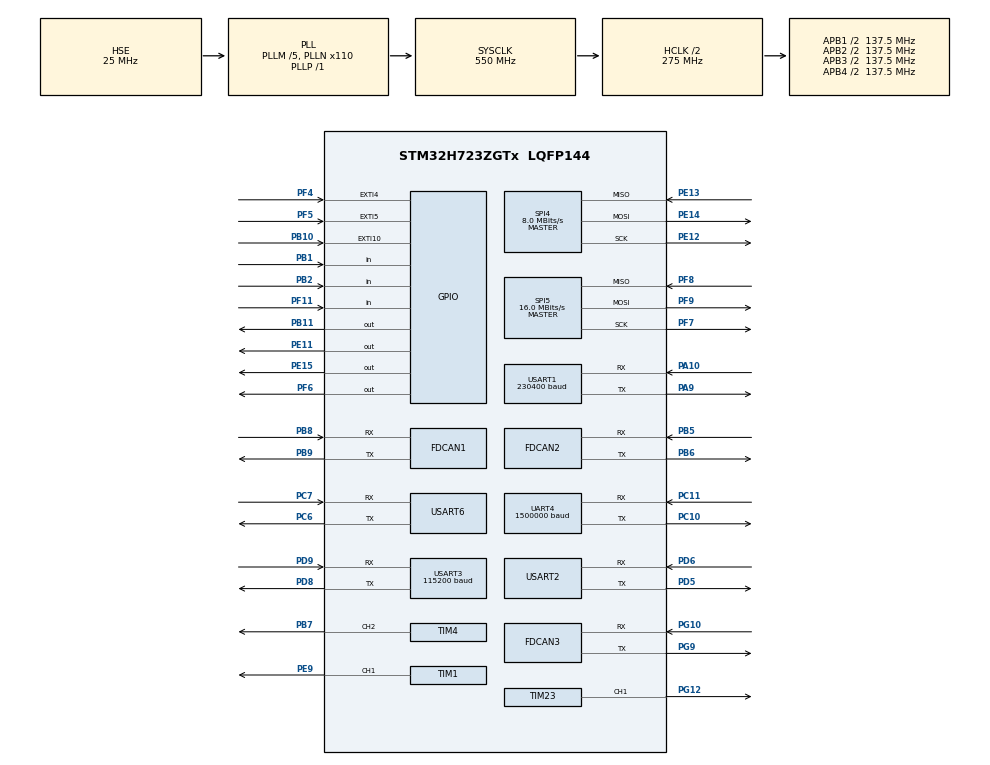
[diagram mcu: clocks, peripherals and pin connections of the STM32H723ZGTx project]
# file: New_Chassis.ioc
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CORTEX_M7.default_mode_Activation=1
Dma.Request0=USART2_RX
Dma.Request1=USART2_TX
Dma.Request2=UART4_RX
Dma.Request3=UART4_TX
Dma.Request4=TIM4_CH2
Dma.Request5=TIM1_CH1
Dma.Request6=USART1_RX
Dma.Request7=USART1_TX
Dma.Request8=USART3_RX
Dma.Request9=TIM23_CH1
Dma.TIM1_CH1.5.Direction=DMA_MEMORY_TO_PERIPH
Dma.TIM1_CH1.5.EventEnable=DISABLE
Dma.TIM1_CH1.5.FIFOMode=DMA_FIFOMODE_DISABLE
Dma.TIM1_CH1.5.Instance=DMA1_Stream5
Dma.TIM1_CH1.5.MemDataAlignment=DMA_MDATAALIGN_WORD
Dma.TIM1_CH1.5.MemInc=DMA_MINC_ENABLE
Dma.TIM1_CH1.5.Mode=DMA_NORMAL
Dma.TIM1_CH1.5.PeriphDataAlignment=DMA_PDATAALIGN_WORD
Dma.TIM1_CH1.5.PeriphInc=DMA_PINC_DISABLE
Dma.TIM1_CH1.5.Polarity=HAL_DMAMUX_REQ_GEN_RISING
Dma.TIM1_CH1.5.Priority=DMA_PRIORITY_LOW
Dma.TIM1_CH1.5.RequestNumber=1
Dma.TIM1_CH1.5.SignalID=NONE
Dma.TIM1_CH1.5.SyncEnable=DISABLE
Dma.TIM1_CH1.5.SyncPolarity=HAL_DMAMUX_SYNC_NO_EVENT
Dma.TIM1_CH1.5.SyncRequestNumber=1
Dma.TIM1_CH1.5.SyncSignalID=NONE
Dma.TIM23_CH1.9.Direction=DMA_MEMORY_TO_PERIPH
Dma.TIM23_CH1.9.EventEnable=DISABLE
Dma.TIM23_CH1.9.FIFOMode=DMA_FIFOMODE_DISABLE
Dma.TIM23_CH1.9.Instance=DMA2_Stream1
Dma.TIM23_CH1.9.MemDataAlignment=DMA_MDATAALIGN_WORD
Dma.TIM23_CH1.9.MemInc=DMA_MINC_ENABLE
Dma.TIM23_CH1.9.Mode=DMA_NORMAL
Dma.TIM23_CH1.9.PeriphDataAlignment=DMA_PDATAALIGN_WORD
Dma.TIM23_CH1.9.PeriphInc=DMA_PINC_DISABLE
Dma.TIM23_CH1.9.Polarity=HAL_DMAMUX_REQ_GEN_RISING
Dma.TIM23_CH1.9.Priority=DMA_PRIORITY_VERY_HIGH
Dma.TIM23_CH1.9.RequestNumber=1
Dma.TIM23_CH1.9.SignalID=NONE
Dma.TIM23_CH1.9.SyncEnable=DISABLE
Dma.TIM23_CH1.9.SyncPolarity=HAL_DMAMUX_SYNC_NO_EVENT
Dma.TIM23_CH1.9.SyncRequestNumber=1
Dma.TIM23_CH1.9.SyncSignalID=NONE
Dma.TIM4_CH2.4.Direction=DMA_MEMORY_TO_PERIPH
Dma.TIM4_CH2.4.EventEnable=DISABLE
Dma.TIM4_CH2.4.FIFOMode=DMA_FIFOMODE_DISABLE
Dma.TIM4_CH2.4.Instance=DMA1_Stream1
Dma.TIM4_CH2.4.MemDataAlignment=DMA_MDATAALIGN_WORD
Dma.TIM4_CH2.4.MemInc=DMA_MINC_ENABLE
Dma.TIM4_CH2.4.Mode=DMA_NORMAL
Dma.TIM4_CH2.4.PeriphDataAlignment=DMA_PDATAALIGN_WORD
Dma.TIM4_CH2.4.PeriphInc=DMA_PINC_DISABLE
Dma.TIM4_CH2.4.Polarity=HAL_DMAMUX_REQ_GEN_RISING
Dma.TIM4_CH2.4.Priority=DMA_PRIORITY_LOW
Dma.TIM4_CH2.4.RequestNumber=1
Dma.TIM4_CH2.4.SignalID=NONE
Dma.TIM4_CH2.4.SyncEnable=DISABLE
Dma.TIM4_CH2.4.SyncPolarity=HAL_DMAMUX_SYNC_NO_EVENT
Dma.TIM4_CH2.4.SyncRequestNumber=1
Dma.TIM4_CH2.4.SyncSignalID=NONE
Dma.UART4_RX.2.Direction=DMA_PERIPH_TO_MEMORY
Dma.UART4_RX.2.EventEnable=DISABLE
Dma.UART4_RX.2.FIFOMode=DMA_FIFOMODE_DISABLE
Dma.UART4_RX.2.Instance=DMA1_Stream2
Dma.UART4_RX.2.MemDataAlignment=DMA_MDATAALIGN_BYTE
Dma.UART4_RX.2.MemInc=DMA_MINC_ENABLE
Dma.UART4_RX.2.Mode=DMA_NORMAL
Dma.UART4_RX.2.PeriphDataAlignment=DMA_PDATAALIGN_BYTE
Dma.UART4_RX.2.PeriphInc=DMA_PINC_DISABLE
Dma.UART4_RX.2.Polarity=HAL_DMAMUX_REQ_GEN_RISING
Dma.UART4_RX.2.Priority=DMA_PRIORITY_LOW
Dma.UART4_RX.2.RequestNumber=1
Dma.UART4_RX.2.SignalID=NONE
Dma.UART4_RX.2.SyncEnable=DISABLE
Dma.UART4_RX.2.SyncPolarity=HAL_DMAMUX_SYNC_NO_EVENT
Dma.UART4_RX.2.SyncRequestNumber=1
Dma.UART4_RX.2.SyncSignalID=NONE
Dma.UART4_TX.3.Direction=DMA_MEMORY_TO_PERIPH
Dma.UART4_TX.3.EventEnable=DISABLE
Dma.UART4_TX.3.FIFOMode=DMA_FIFOMODE_DISABLE
Dma.UART4_TX.3.Instance=DMA1_Stream4
Dma.UART4_TX.3.MemDataAlignment=DMA_MDATAALIGN_BYTE
Dma.UART4_TX.3.MemInc=DMA_MINC_ENABLE
Dma.UART4_TX.3.Mode=DMA_NORMAL
Dma.UART4_TX.3.PeriphDataAlignment=DMA_PDATAALIGN_BYTE
Dma.UART4_TX.3.PeriphInc=DMA_PINC_DISABLE
Dma.UART4_TX.3.Polarity=HAL_DMAMUX_REQ_GEN_RISING
Dma.UART4_TX.3.Priority=DMA_PRIORITY_LOW
Dma.UART4_TX.3.RequestNumber=1
Dma.UART4_TX.3.SignalID=NONE
Dma.UART4_TX.3.SyncEnable=DISABLE
Dma.UART4_TX.3.SyncPolarity=HAL_DMAMUX_SYNC_NO_EVENT
Dma.UART4_TX.3.SyncRequestNumber=1
Dma.UART4_TX.3.SyncSignalID=NONE
Dma.USART1_RX.6.Direction=DMA_PERIPH_TO_MEMORY
Dma.USART1_RX.6.EventEnable=DISABLE
Dma.USART1_RX.6.FIFOMode=DMA_FIFOMODE_DISABLE
Dma.USART1_RX.6.Instance=DMA1_Stream7
Dma.USART1_RX.6.MemDataAlignment=DMA_MDATAALIGN_BYTE
Dma.USART1_RX.6.MemInc=DMA_MINC_ENABLE
Dma.USART1_RX.6.Mode=DMA_NORMAL
Dma.USART1_RX.6.PeriphDataAlignment=DMA_PDATAALIGN_BYTE
Dma.USART1_RX.6.PeriphInc=DMA_PINC_DISABLE
Dma.USART1_RX.6.Polarity=HAL_DMAMUX_REQ_GEN_RISING
Dma.USART1_RX.6.Priority=DMA_PRIORITY_LOW
Dma.USART1_RX.6.RequestNumber=1
Dma.USART1_RX.6.SignalID=NONE
Dma.USART1_RX.6.SyncEnable=DISABLE
Dma.USART1_RX.6.SyncPolarity=HAL_DMAMUX_SYNC_NO_EVENT
Dma.USART1_RX.6.SyncRequestNumber=1
Dma.USART1_RX.6.SyncSignalID=NONE
Dma.USART1_TX.7.Direction=DMA_MEMORY_TO_PERIPH
Dma.USART1_TX.7.EventEnable=DISABLE
Dma.USART1_TX.7.FIFOMode=DMA_FIFOMODE_DISABLE
Dma.USART1_TX.7.Instance=DMA2_Stream0
Dma.USART1_TX.7.MemDataAlignment=DMA_MDATAALIGN_BYTE
Dma.USART1_TX.7.MemInc=DMA_MINC_ENABLE
Dma.USART1_TX.7.Mode=DMA_NORMAL
Dma.USART1_TX.7.PeriphDataAlignment=DMA_PDATAALIGN_BYTE
Dma.USART1_TX.7.PeriphInc=DMA_PINC_DISABLE
Dma.USART1_TX.7.Polarity=HAL_DMAMUX_REQ_GEN_RISING
Dma.USART1_TX.7.Priority=DMA_PRIORITY_LOW
Dma.USART1_TX.7.RequestNumber=1
Dma.USART1_TX.7.SignalID=NONE
Dma.USART1_TX.7.SyncEnable=DISABLE
Dma.USART1_TX.7.SyncPolarity=HAL_DMAMUX_SYNC_NO_EVENT
Dma.USART1_TX.7.SyncRequestNumber=1
Dma.USART1_TX.7.SyncSignalID=NONE
Dma.USART2_RX.0.Direction=DMA_PERIPH_TO_MEMORY
Dma.USART2_RX.0.EventEnable=DISABLE
Dma.USART2_RX.0.FIFOMode=DMA_FIFOMODE_DISABLE
Dma.USART2_RX.0.Instance=DMA1_Stream0
Dma.USART2_RX.0.MemDataAlignment=DMA_MDATAALIGN_BYTE
Dma.USART2_RX.0.MemInc=DMA_MINC_ENABLE
Dma.USART2_RX.0.Mode=DMA_NORMAL
Dma.USART2_RX.0.PeriphDataAlignment=DMA_PDATAALIGN_BYTE
Dma.USART2_RX.0.PeriphInc=DMA_PINC_DISABLE
Dma.USART2_RX.0.Polarity=HAL_DMAMUX_REQ_GEN_RISING
Dma.USART2_RX.0.Priority=DMA_PRIORITY_LOW
Dma.USART2_RX.0.RequestNumber=1
Dma.USART2_RX.0.SignalID=NONE
Dma.USART2_RX.0.SyncEnable=DISABLE
Dma.USART2_RX.0.SyncPolarity=HAL_DMAMUX_SYNC_NO_EVENT
Dma.USART2_RX.0.SyncRequestNumber=1
Dma.USART2_RX.0.SyncSignalID=NONE
Dma.USART2_TX.1.Direction=DMA_MEMORY_TO_PERIPH
Dma.USART2_TX.1.EventEnable=DISABLE
Dma.USART2_TX.1.FIFOMode=DMA_FIFOMODE_DISABLE
Dma.USART2_TX.1.Instance=DMA1_Stream3
Dma.USART2_TX.1.MemDataAlignment=DMA_MDATAALIGN_BYTE
Dma.USART2_TX.1.MemInc=DMA_MINC_ENABLE
Dma.USART2_TX.1.Mode=DMA_NORMAL
Dma.USART2_TX.1.PeriphDataAlignment=DMA_PDATAALIGN_BYTE
Dma.USART2_TX.1.PeriphInc=DMA_PINC_DISABLE
Dma.USART2_TX.1.Polarity=HAL_DMAMUX_REQ_GEN_RISING
Dma.USART2_TX.1.Priority=DMA_PRIORITY_LOW
Dma.USART2_TX.1.RequestNumber=1
Dma.USART2_TX.1.SignalID=NONE
Dma.USART2_TX.1.SyncEnable=DISABLE
Dma.USART2_TX.1.SyncPolarity=HAL_DMAMUX_SYNC_NO_EVENT
Dma.USART2_TX.1.SyncRequestNumber=1
Dma.USART2_TX.1.SyncSignalID=NONE
Dma.USART3_RX.8.Direction=DMA_PERIPH_TO_MEMORY
Dma.USART3_RX.8.EventEnable=DISABLE
Dma.USART3_RX.8.FIFOMode=DMA_FIFOMODE_DISABLE
Dma.USART3_RX.8.Instance=DMA1_Stream6
Dma.USART3_RX.8.MemDataAlignment=DMA_MDATAALIGN_BYTE
Dma.USART3_RX.8.MemInc=DMA_MINC_ENABLE
Dma.USART3_RX.8.Mode=DMA_NORMAL
Dma.USART3_RX.8.PeriphDataAlignment=DMA_PDATAALIGN_BYTE
Dma.USART3_RX.8.PeriphInc=DMA_PINC_DISABLE
Dma.USART3_RX.8.Polarity=HAL_DMAMUX_REQ_GEN_RISING
Dma.USART3_RX.8.Priority=DMA_PRIORITY_LOW
Dma.USART3_RX.8.RequestNumber=1
Dma.USART3_RX.8.SignalID=NONE
Dma.USART3_RX.8.SyncEnable=DISABLE
Dma.USART3_RX.8.SyncPolarity=HAL_DMAMUX_SYNC_NO_EVENT
Dma.USART3_RX.8.SyncRequestNumber=1
Dma.USART3_RX.8.SyncSignalID=NONE
FDCAN1.CalculateBaudRateNominal=1000000
FDCAN1.CalculateTimeBitNominal=1000
FDCAN1.CalculateTimeQuantumNominal=100.0
FDCAN1.DataPrescaler=12
FDCAN1.DataTimeSeg1=2
FDCAN1.DataTimeSeg2=2
FDCAN1.ExtFiltersNbr=1
FDCAN1.FrameFormat=FDCAN_FRAME_FD_BRS
FDCAN1.NominalPrescaler=12
FDCAN1.NominalTimeSeg1=7
FDCAN1.NominalTimeSeg2=2
FDCAN1.RxBufferSize=FDCAN_DATA_BYTES_64
FDCAN1.RxBuffersNbr=8
FDCAN1.RxFifo0ElmtSize=FDCAN_DATA_BYTES_64
FDCAN1.RxFifo0ElmtsNbr=8
FDCAN1.RxFifo1ElmtSize=FDCAN_DATA_BYTES_64
FDCAN1.RxFifo1ElmtsNbr=8
FDCAN1.StdFiltersNbr=1
FDCAN1.TxBuffersNbr=0
FDCAN1.TxElmtSize=FDCAN_DATA_BYTES_64
FDCAN1.TxFifoQueueElmtsNbr=8
FDCAN2.CalculateBaudRateNominal=500000
FDCAN2.CalculateTimeBitNominal=2000
FDCAN2.CalculateTimeQuantumNominal=100.0
FDCAN2.ExtFiltersNbr=1
FDCAN2.MessageRAMOffset=666
FDCAN2.NominalPrescaler=12
FDCAN2.NominalTimeSeg1=15
FDCAN2.NominalTimeSeg2=4
FDCAN2.RxBufferSize=FDCAN_DATA_BYTES_64
FDCAN2.RxBuffersNbr=8
FDCAN2.RxFifo0ElmtSize=FDCAN_DATA_BYTES_64
FDCAN2.RxFifo0ElmtsNbr=8
FDCAN2.RxFifo1ElmtSize=FDCAN_DATA_BYTES_64
FDCAN2.RxFifo1ElmtsNbr=8
FDCAN2.StdFiltersNbr=1
FDCAN2.TxBuffersNbr=0
FDCAN2.TxElmtSize=FDCAN_DATA_BYTES_64
FDCAN2.TxFifoQueueElmtsNbr=8
FDCAN3.AutoRetransmission=DISABLE
FDCAN3.CalculateBaudRateNominal=1000000
FDCAN3.CalculateTimeBitNominal=1000
FDCAN3.CalculateTimeQuantumNominal=50.0
FDCAN3.DataPrescaler=6
FDCAN3.DataSyncJumpWidth=1
FDCAN3.DataTimeSeg1=7
FDCAN3.DataTimeSeg2=2
FDCAN3.ExtFiltersNbr=1
FDCAN3.FrameFormat=FDCAN_FRAME_FD_BRS
FDCAN3.MessageRAMOffset=666*2
FDCAN3.NominalPrescaler=6
FDCAN3.NominalTimeSeg1=15
FDCAN3.NominalTimeSeg2=4
FDCAN3.RxBufferSize=FDCAN_DATA_BYTES_64
FDCAN3.RxBuffersNbr=8
FDCAN3.RxFifo0ElmtSize=FDCAN_DATA_BYTES_64
FDCAN3.RxFifo0ElmtsNbr=8
FDCAN3.RxFifo1ElmtSize=FDCAN_DATA_BYTES_64
FDCAN3.RxFifo1ElmtsNbr=8
FDCAN3.StdFiltersNbr=1
FDCAN3.TxBuffersNbr=0
FDCAN3.TxElmtSize=FDCAN_DATA_BYTES_64
FDCAN3.TxFifoQueueElmtsNbr=32
FREERTOS.INCLUDE_vTaskDelayUntil=1
FREERTOS.Tasks01=Motor_Control,0,1024,motor_control,As weak,NULL,Dynamic,NULL,NULL;Communication,0,1024,communication,As weak,NULL,Dynamic,NULL,NULL;Location,0,512,location,As weak,NULL,Dynamic,NULL,NULL;myTransmit_task,3,512,StartTransmit_task,As weak,NULL,Dynamic,NULL,NULL;Detect_Wrong,0,512,Detect,As weak,NULL,Dynamic,NULL,NULL;Defense1,0,512,HTMotorControl,As weak,NULL,Dynamic,NULL,NULL;Defense2,-3,512,ParamsChange,As weak,NULL,Dynamic,NULL,NULL
FREERTOS.configTOTAL_HEAP_SIZE=88888
FREERTOS.configUSE_IDLE_HOOK=1
FREERTOS.configUSE_TICK_HOOK=1
Mcu.Family=STM32H7
Mcu.Name=STM32H723ZGTx
Mcu.Package=LQFP144
NVIC.DMA1_Stream0_IRQn=true\:5\:0\:false\:false\:true\:true\:false\:true\:true
NVIC.DMA1_Stream1_IRQn=true\:5\:0\:false\:false\:true\:true\:false\:true\:true
NVIC.DMA1_Stream2_IRQn=true\:5\:0\:false\:false\:true\:true\:false\:true\:true
NVIC.DMA1_Stream3_IRQn=true\:5\:0\:false\:false\:true\:true\:false\:true\:true
NVIC.DMA1_Stream4_IRQn=true\:5\:0\:false\:false\:true\:true\:false\:true\:true
NVIC.DMA1_Stream5_IRQn=true\:5\:0\:false\:false\:true\:true\:false\:true\:true
NVIC.DMA1_Stream6_IRQn=true\:5\:0\:false\:false\:true\:true\:false\:true\:true
NVIC.DMA1_Stream7_IRQn=true\:5\:0\:false\:false\:true\:true\:false\:true\:true
NVIC.DMA2_Stream0_IRQn=true\:5\:0\:false\:false\:true\:true\:false\:true\:true
NVIC.DMA2_Stream1_IRQn=true\:5\:0\:false\:false\:true\:true\:false\:true\:true
NVIC.EXTI15_10_IRQn=true\:5\:0\:false\:false\:true\:true\:true\:true\:true
NVIC.EXTI4_IRQn=true\:5\:0\:false\:false\:true\:true\:true\:true\:true
NVIC.EXTI9_5_IRQn=true\:5\:0\:false\:false\:true\:true\:true\:true\:true
NVIC.FDCAN1_IT0_IRQn=true\:5\:0\:false\:false\:true\:true\:true\:true\:true
NVIC.FDCAN1_IT1_IRQn=true\:5\:0\:false\:false\:true\:true\:true\:true\:true
NVIC.FDCAN2_IT0_IRQn=true\:5\:0\:false\:false\:true\:true\:true\:true\:true
NVIC.FDCAN2_IT1_IRQn=true\:5\:0\:false\:false\:true\:true\:true\:true\:true
NVIC.FDCAN3_IT0_IRQn=true\:5\:0\:false\:false\:true\:true\:true\:true\:true
NVIC.FDCAN3_IT1_IRQn=true\:5\:0\:false\:false\:true\:true\:true\:true\:true
NVIC.PriorityGroup=NVIC_PRIORITYGROUP_4
NVIC.SPI4_IRQn=true\:5\:0\:false\:false\:true\:true\:true\:true\:true
NVIC.TIM16_IRQn=true\:5\:0\:false\:false\:true\:true\:true\:true\:true
NVIC.TIM23_IRQn=true\:5\:0\:false\:false\:true\:true\:true\:true\:true
NVIC.TIM2_IRQn=true\:15\:0\:false\:false\:true\:false\:false\:true\:true
NVIC.TIM3_IRQn=true\:5\:0\:false\:false\:true\:true\:true\:true\:true
NVIC.TIM4_IRQn=true\:5\:0\:false\:false\:true\:true\:true\:true\:true
NVIC.TimeBase=TIM2_IRQn
NVIC.TimeBaseIP=TIM2
NVIC.UART4_IRQn=true\:5\:0\:false\:false\:true\:true\:true\:true\:true
NVIC.USART1_IRQn=true\:5\:0\:false\:false\:true\:true\:true\:true\:true
NVIC.USART2_IRQn=true\:5\:0\:false\:false\:true\:true\:true\:true\:true
NVIC.USART3_IRQn=true\:5\:0\:false\:false\:true\:true\:true\:true\:true
PA10.GPIO_PuPd=GPIO_PULLDOWN
PA10.GPIO_Speed=GPIO_SPEED_FREQ_VERY_HIGH
PA10.Mode=Asynchronous
PA10.Signal=USART1_RX
PA9.GPIO_PuPd=GPIO_PULLDOWN
PA9.GPIO_Speed=GPIO_SPEED_FREQ_VERY_HIGH
PA9.Mode=Asynchronous
PA9.Signal=USART1_TX
PB1.Signal=GPIO_Input
PB10.GPIO_ModeDefaultEXTI=GPIO_MODE_IT_FALLING
PB10.Signal=GPXTI10
PB11.GPIO_ModeDefaultOutputPP=GPIO_MODE_OUTPUT_PP
PB11.GPIO_PuPd=GPIO_PULLDOWN
PB11.PinState=GPIO_PIN_SET
PB11.Signal=GPIO_Output
PB2.Signal=GPIO_Input
PB5.Mode=FDCAN_Activate
PB5.Signal=FDCAN2_RX
PB6.Mode=FDCAN_Activate
PB6.Signal=FDCAN2_TX
PB7.Signal=S_TIM4_CH2
PB8.Mode=FDCAN_Activate
PB8.Signal=FDCAN1_RX
PB9.Mode=FDCAN_Activate
PB9.Signal=FDCAN1_TX
PC10.Mode=Asynchronous
PC10.Signal=UART4_TX
PC11.GPIO_PuPd=GPIO_PULLUP
PC11.Mode=Asynchronous
PC11.Signal=UART4_RX
PC6.Mode=Asynchronous
PC6.Signal=USART6_TX
PC7.Mode=Asynchronous
PC7.Signal=USART6_RX
PD5.GPIO_PuPd=GPIO_PULLUP
PD5.Mode=Asynchronous
PD5.Signal=USART2_TX
PD6.GPIO_PuPd=GPIO_PULLUP
PD6.Mode=Asynchronous
PD6.Signal=USART2_RX
PD8.GPIO_PuPd=GPIO_PULLUP
PD8.Mode=Asynchronous
PD8.Signal=USART3_TX
PD9.GPIO_PuPd=GPIO_PULLUP
PD9.Mode=Asynchronous
PD9.Signal=USART3_RX
PE11.Signal=GPIO_Output
PE12.Mode=Full_Duplex_Master
PE12.Signal=SPI4_SCK
PE13.Mode=Full_Duplex_Master
PE13.Signal=SPI4_MISO
PE14.Mode=Full_Duplex_Master
PE14.Signal=SPI4_MOSI
PE15.Signal=GPIO_Output
PE9.Signal=S_TIM1_CH1
PF11.Signal=GPIO_Input
PF4.GPIO_ModeDefaultEXTI=GPIO_MODE_IT_FALLING
PF4.GPIO_PuPd=GPIO_PULLUP
PF4.Signal=GPXTI4
PF5.GPIO_ModeDefaultEXTI=GPIO_MODE_IT_FALLING
PF5.GPIO_PuPd=GPIO_PULLUP
PF5.Signal=GPXTI5
PF6.GPIO_PuPd=GPIO_PULLUP
PF6.GPIO_Speed=GPIO_SPEED_FREQ_HIGH
PF6.PinState=GPIO_PIN_RESET
PF6.Signal=GPIO_Output
PF7.Mode=Full_Duplex_Master
PF7.Signal=SPI5_SCK
PF8.Mode=Full_Duplex_Master
PF8.Signal=SPI5_MISO
PF9.Mode=Full_Duplex_Master
PF9.Signal=SPI5_MOSI
PG10.Mode=FDCAN_Activate
PG10.Signal=FDCAN3_RX
PG12.GPIO_PuPd=GPIO_PULLUP
PG12.GPIO_Speed=GPIO_SPEED_FREQ_VERY_HIGH
PG12.Mode=PWM Generation1 CH1
PG12.Signal=TIM23_CH1
PG9.Mode=FDCAN_Activate
PG9.Signal=FDCAN3_TX
PH0-OSC_IN.Mode=HSE-External-Oscillator
PH0-OSC_IN.Signal=RCC_OSC_IN
PH1-OSC_OUT.Mode=HSE-External-Oscillator
PH1-OSC_OUT.Signal=RCC_OSC_OUT
ProjectManager.HeapSize=0x200
ProjectManager.StackSize=0x400
ProjectManager.TargetToolchain=MDK-ARM V5.32
RCC.ADCCLockSelection=RCC_ADCCLKSOURCE_PLL2
RCC.ADCFreq_Value=120000000
RCC.APB1Freq_Value=137500000
RCC.APB2Freq_Value=137500000
RCC.APB3Freq_Value=137500000
RCC.APB4Freq_Value=137500000
RCC.CECCLockSelection=RCC_CECCLKSOURCE_LSI
RCC.CKPERSourceSelection=RCC_CLKPSOURCE_HSI
RCC.CSI_VALUE=4000000
RCC.CortexFreq_Value=550000000
RCC.Cortex_Div=SYSTICK_CLKSOURCE_HCLK
RCC.Cortex_DivARG=SystemCoreClock/1000
RCC.D1CPRE=RCC_SYSCLK_DIV1
RCC.D1PPRE=RCC_APB3_DIV2
RCC.D2PPRE1=RCC_APB1_DIV2
RCC.D2PPRE2=RCC_APB2_DIV2
RCC.D3PPRE=RCC_APB4_DIV2
RCC.DFSDMCLockSelection=RCC_DFSDM1CLKSOURCE_D2PCLK1
RCC.DIVM1=5
RCC.DIVM2=25
RCC.DIVM3=5
RCC.DIVN1=110
RCC.DIVN2=240
RCC.DIVN3=96
RCC.DIVP1=1
RCC.DIVP2=2
RCC.DIVP3=2
RCC.DIVQ1=2
RCC.DIVQ3=15
RCC.DIVR1=2
RCC.DIVR2=2
RCC.DIVR3=2
RCC.EXTERNAL_CLOCK_VALUE=12288000
RCC.EnbaleCSS=false
RCC.FDCANCLockSelection=RCC_FDCANCLKSOURCE_PLL2
RCC.FMCCLockSelection=RCC_FMCCLKSOURCE_D1HCLK
RCC.HCLKFreq_Value=275000000
RCC.HPRE=RCC_HCLK_DIV2
RCC.HSE_VALUE=25000000
RCC.HSI48_VALUE=48000000
RCC.HSIDiv=RCC_PLLSAIDIVR_1
RCC.HSI_VALUE=64000000
RCC.I2C123CLockSelection=RCC_I2C1235CLKSOURCE_D2PCLK1
RCC.I2C4CLockSelection=RCC_I2C4CLKSOURCE_D3PCLK1
RCC.LPTIM1CLockSelection=RCC_LPTIM1CLKSOURCE_D2PCLK1
RCC.LPTIM2CLockSelection=RCC_LPTIM2CLKSOURCE_D3PCLK1
RCC.LPTIM345CLockSelection=RCC_LPTIM345CLKSOURCE_D3PCLK1
RCC.LPUART1CLockSelection=RCC_LPUART1CLKSOURCE_D3PCLK1
RCC.LSEState=RCC_LSE_OFF
RCC.LSE_VALUE=32768
RCC.PLLSourceVirtual=RCC_PLLSOURCE_HSE
RCC.QSPICLockSelection=RCC_OSPICLKSOURCE_D1HCLK
RCC.RCC_MCO1Source=RCC_MCO1SOURCE_HSI
RCC.RCC_MCO2Source=RCC_MCO2SOURCE_SYSCLK
RCC.RCC_MCODiv1=RCC_MCODIV_1
RCC.RCC_MCODiv2=RCC_MCODIV_1
RCC.RCC_RTC_Clock_Source_FROM_HSE=RCC_RTCCLKSOURCE_HSE_DIV2
RCC.RNGCLockSelection=RCC_RNGCLKSOURCE_HSI48
RCC.SAI1CLockSelection=RCC_SAI1CLKSOURCE_PLL
RCC.SAI4ACLockSelection=RCC_SAI4ACLKSOURCE_PLL
RCC.SAI4BCLockSelection=RCC_SAI4BCLKSOURCE_PLL
RCC.SPDIFCLockSelection=RCC_SPDIFRXCLKSOURCE_PLL
RCC.SPI123CLockSelection=RCC_SPI123CLKSOURCE_PLL
RCC.SPI6CLockSelection=RCC_SPI6CLKSOURCE_D3PCLK1
RCC.SWPCLockSelection=RCC_SWPMI1CLKSOURCE_D2PCLK1
RCC.SYSCLKFreq_VALUE=550000000
RCC.SYSCLKSource=RCC_SYSCLKSOURCE_PLLCLK
RCC.Spi45ClockSelection=RCC_SPI45CLKSOURCE_PLL3
RCC.USART16CLockSelection=RCC_USART16910CLKSOURCE_PLL2
RCC.USART234578CLockSelection=RCC_USART234578CLKSOURCE_PLL2
RCC.USBCLockSelection=RCC_USBCLKSOURCE_PLL
RCC.USBFreq_Value=275000000
SH.S_TIM1_CH1.0=TIM1_CH1,PWM Generation1 CH1
SH.S_TIM4_CH2.0=TIM4_CH2,PWM Generation2 CH2
SPI4.BaudRatePrescaler=SPI_BAUDRATEPRESCALER_4
SPI4.CalculateBaudRate=8.0 MBits/s
SPI4.DataSize=SPI_DATASIZE_8BIT
SPI4.Direction=SPI_DIRECTION_2LINES
SPI4.Mode=SPI_MODE_MASTER
SPI4.VirtualType=VM_MASTER
SPI5.BaudRatePrescaler=SPI_BAUDRATEPRESCALER_2
SPI5.CalculateBaudRate=16.0 MBits/s
SPI5.DataSize=SPI_DATASIZE_8BIT
SPI5.Direction=SPI_DIRECTION_2LINES
SPI5.Mode=SPI_MODE_MASTER
SPI5.VirtualType=VM_MASTER
TIM1.Channel-PWM\ Generation1\ CH1=TIM_CHANNEL_1
TIM16.Period=1000-1
TIM16.Prescaler=275-1
TIM23.Channel-PWM\ Generation1\ CH1=TIM_CHANNEL_1
TIM23.OCFastMode_PWM-PWM\ Generation1\ CH1=TIM_OCFAST_ENABLE
TIM23.Period=342
TIM3.AutoReloadPreload=TIM_AUTORELOAD_PRELOAD_ENABLE
TIM3.Period=100
TIM3.Prescaler=274
TIM4.AutoReloadPreload=TIM_AUTORELOAD_PRELOAD_DISABLE
TIM4.Channel-PWM\ Generation1\ CH1=TIM_CHANNEL_1
TIM4.Channel-PWM\ Generation2\ CH2=TIM_CHANNEL_2
TIM4.OCFastMode_PWM-PWM\ Generation2\ CH2=TIM_OCFAST_ENABLE
TIM4.Period=342
UART4.BaudRate=1500000
USART1.BaudRate=230400
USART1.VirtualMode-Asynchronous=VM_ASYNC
USART2.VirtualMode-Asynchronous=VM_ASYNC
USART3.BaudRate=115200
USART3.VirtualMode-Asynchronous=VM_ASYNC
USART6.VirtualMode-Asynchronous=VM_ASYNC
VP_FREERTOS_VS_CMSIS_V1.Mode=CMSIS_V1
VP_MEMORYMAP_VS_MEMORYMAP.Mode=CurAppReg
VP_SYS_VS_tim2.Mode=TIM2
VP_TIM16_VS_ClockSourceINT.Mode=Enable_Timer
VP_TIM1_VS_ClockSourceINT.Mode=Internal
VP_TIM3_VS_ClockSourceINT.Mode=Internal
VP_TIM4_VS_ClockSourceINT.Mode=Internal
board=custom

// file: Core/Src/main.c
/* USER CODE BEGIN Header */
/**
  ******************************************************************************
  * @file           : main.c
  * @brief          : Main program body
  ******************************************************************************
  * @attention
  *
  * Copyright (c) 2025 STMicroelectronics.
  * All rights reserved.
  *
  * This software is licensed under terms that can be found in the LICENSE file
  * in the root directory of this software component.
  * If no LICENSE file comes with this software, it is provided AS-IS.
  *
  ******************************************************************************
  */
/* USER CODE END Header */
#include "main.h"
#include "cmsis_os.h"
#include "dma.h"
#include "fdcan.h"
#include "memorymap.h"
#include "spi.h"
#include "tim.h"
#include "usart.h"
#include "gpio.h"

/* USER CODE BEGIN Includes */
#include "Global.h"
#if MPC
#include "Second_Order.hpp"
#endif
#include "SPI_FDCAN.h"
#include "Television.h"
#include "CPU_Load.h"
#include "Interact.h"
#include "Chassis.h"
#include "Can_Bsp.h"
#include "Encoder.h"
#include <string.h>
#include "Global.h"
#include "Basket.h"
#include "Kalman.h"
#include "Guard.h"
#include "Flow.h"
#include "mine.h"
#include "Send.h"
#include "Gyro.h"
#include "RGB.h"

/* USER CODE END Includes */

/* USER CODE BEGIN PV */
FDCAN_RxHeaderTypeDef RxHeader;
/* USER CODE END PV */

void SystemClock_Config(void);
void PeriphCommonClock_Config(void);
static void MPU_Config(void);
void MX_FREERTOS_Init(void);

int main(void)
{

  /* MPU Configuration--------------------------------------------------------*/
  MPU_Config();

  /* MCU Configuration--------------------------------------------------------*/

  /* Reset of all peripherals, Initializes the Flash interface and the Systick. */
  HAL_Init();

  /* Configure the system clock */
  SystemClock_Config();

  /* Configure the peripherals common clocks */
  PeriphCommonClock_Config();

  /* USER CODE BEGIN SysInit */
	HAL_Delay(200);

  /* USER CODE END SysInit */

  /* Initialize all configured peripherals */
  MX_GPIO_Init();
  MX_DMA_Init();
  MX_FDCAN1_Init();
  MX_FDCAN2_Init();
  MX_USART2_UART_Init();
  MX_FDCAN3_Init();
  MX_TIM4_Init();
  MX_UART4_Init();
  MX_TIM1_Init();
  MX_USART1_UART_Init();
  MX_USART3_UART_Init();
  MX_USART6_UART_Init();
  MX_TIM3_Init();
  MX_SPI4_Init();
  MX_SPI5_Init();
  MX_TIM23_Init();
  MX_TIM16_Init();
  /* USER CODE BEGIN 2 */
	Chassis_SelfLock(true);
	FDCAN4_Init();
	RGB_Init();
	GamePad_Init();
	Encoder_Init();
	TurnMotor_OffsetAngleInit();
	Wireless_init();
  #if MPC
	Kalman3D_Init();
  #endif
  Gyro_Reset();
	//CPU_Usage_Init();
  /* USER CODE END 2 */

  /* Call init function for freertos objects (in cmsis_os2.c) */
  MX_FREERTOS_Init();

  /* Start scheduler */
  osKernelStart();

  /* We should never get here as control is now taken by the scheduler */

  /* Infinite loop */
  while (1)
  {

  }
}

void SystemClock_Config(void)
{
  RCC_OscInitTypeDef RCC_OscInitStruct = {0};
  RCC_ClkInitTypeDef RCC_ClkInitStruct = {0};

  /** Supply configuration update enable
  */
  HAL_PWREx_ConfigSupply(PWR_LDO_SUPPLY);

  /** Configure the main internal regulator output voltage
  */
  __HAL_PWR_VOLTAGESCALING_CONFIG(PWR_REGULATOR_VOLTAGE_SCALE0);

  while(!__HAL_PWR_GET_FLAG(PWR_FLAG_VOSRDY)) {}

  /** Initializes the RCC Oscillators according to the specified parameters
  * in the RCC_OscInitTypeDef structure.
  */
  RCC_OscInitStruct.OscillatorType = RCC_OSCILLATORTYPE_HSE;
  RCC_OscInitStruct.HSEState = RCC_HSE_ON;
  RCC_OscInitStruct.PLL.PLLState = RCC_PLL_ON;
  RCC_OscInitStruct.PLL.PLLSource = RCC_PLLSOURCE_HSE;
  RCC_OscInitStruct.PLL.PLLM = 5;
  RCC_OscInitStruct.PLL.PLLN = 110;
  RCC_OscInitStruct.PLL.PLLP = 1;
  RCC_OscInitStruct.PLL.PLLQ = 2;
  RCC_OscInitStruct.PLL.PLLR = 2;
  RCC_OscInitStruct.PLL.PLLRGE = RCC_PLL1VCIRANGE_2;
  RCC_OscInitStruct.PLL.PLLVCOSEL = RCC_PLL1VCOWIDE;
  RCC_OscInitStruct.PLL.PLLFRACN = 0;
  if (HAL_RCC_OscConfig(&RCC_OscInitStruct) != HAL_OK)
  {
    Error_Handler();
  }

  /** Initializes the CPU, AHB and APB buses clocks
  */
  RCC_ClkInitStruct.ClockType = RCC_CLOCKTYPE_HCLK|RCC_CLOCKTYPE_SYSCLK
                              |RCC_CLOCKTYPE_PCLK1|RCC_CLOCKTYPE_PCLK2
                              |RCC_CLOCKTYPE_D3PCLK1|RCC_CLOCKTYPE_D1PCLK1;
  RCC_ClkInitStruct.SYSCLKSource = RCC_SYSCLKSOURCE_PLLCLK;
  RCC_ClkInitStruct.SYSCLKDivider = RCC_SYSCLK_DIV1;
  RCC_ClkInitStruct.AHBCLKDivider = RCC_HCLK_DIV2;
  RCC_ClkInitStruct.APB3CLKDivider = RCC_APB3_DIV2;
  RCC_ClkInitStruct.APB1CLKDivider = RCC_APB1_DIV2;
  RCC_ClkInitStruct.APB2CLKDivider = RCC_APB2_DIV2;
  RCC_ClkInitStruct.APB4CLKDivider = RCC_APB4_DIV2;

  if (HAL_RCC_ClockConfig(&RCC_ClkInitStruct, FLASH_LATENCY_3) != HAL_OK)
  {
    Error_Handler();
  }
}

void PeriphCommonClock_Config(void)
{
  RCC_PeriphCLKInitTypeDef PeriphClkInitStruct = {0};

  /** Initializes the peripherals clock
  */
  PeriphClkInitStruct.PeriphClockSelection = RCC_PERIPHCLK_SPI4|RCC_PERIPHCLK_SPI5
                              |RCC_PERIPHCLK_FDCAN|RCC_PERIPHCLK_USART1
                              |RCC_PERIPHCLK_USART6|RCC_PERIPHCLK_UART4
                              |RCC_PERIPHCLK_USART2|RCC_PERIPHCLK_USART3;
  PeriphClkInitStruct.PLL2.PLL2M = 25;
  PeriphClkInitStruct.PLL2.PLL2N = 240;
  PeriphClkInitStruct.PLL2.PLL2P = 2;
  PeriphClkInitStruct.PLL2.PLL2Q = 2;
  PeriphClkInitStruct.PLL2.PLL2R = 2;
  PeriphClkInitStruct.PLL2.PLL2RGE = RCC_PLL2VCIRANGE_0;
  PeriphClkInitStruct.PLL2.PLL2VCOSEL = RCC_PLL2VCOMEDIUM;
  PeriphClkInitStruct.PLL2.PLL2FRACN = 0;
  PeriphClkInitStruct.PLL3.PLL3M = 5;
  PeriphClkInitStruct.PLL3.PLL3N = 96;
  PeriphClkInitStruct.PLL3.PLL3P = 2;
  PeriphClkInitStruct.PLL3.PLL3Q = 15;
  PeriphClkInitStruct.PLL3.PLL3R = 2;
  PeriphClkInitStruct.PLL3.PLL3RGE = RCC_PLL3VCIRANGE_2;
  PeriphClkInitStruct.PLL3.PLL3VCOSEL = RCC_PLL3VCOWIDE;
  PeriphClkInitStruct.PLL3.PLL3FRACN = 0;
  PeriphClkInitStruct.Spi45ClockSelection = RCC_SPI45CLKSOURCE_PLL3;
  PeriphClkInitStruct.FdcanClockSelection = RCC_FDCANCLKSOURCE_PLL2;
  PeriphClkInitStruct.Usart234578ClockSelection = RCC_USART234578CLKSOURCE_PLL2;
  PeriphClkInitStruct.Usart16ClockSelection = RCC_USART16910CLKSOURCE_PLL2;
  if (HAL_RCCEx_PeriphCLKConfig(&PeriphClkInitStruct) != HAL_OK)
  {
    Error_Handler();
  }
}

/* USER CODE BEGIN 4 */
unsigned char Row_Data[64];
void HAL_FDCAN_RxFifo0Callback(FDCAN_HandleTypeDef *hfdcan, uint32_t RxFifo0ITs)
{
	if(hfdcan->Instance == FDCAN1){
		HAL_FDCAN_GetRxMessage(&hfdcan1,FDCAN_RX_FIFO0,&RxHeader,Row_Data);
		Turn_Motor_Decode(RxHeader.Identifier,Row_Data);
		HighTorque_getFedback(&RxHeader, Row_Data);
	}
	if(hfdcan->Instance == FDCAN2){
		HAL_FDCAN_GetRxMessage(&hfdcan2,FDCAN_RX_FIFO0,&RxHeader,Row_Data);
		Get_Encoder_Data(RxHeader.Identifier,Row_Data);
		Get_Gyro_Data(RxHeader.Identifier,Row_Data);
	}
	if(hfdcan->Instance == FDCAN3){
		HAL_FDCAN_GetRxMessage(&hfdcan3,FDCAN_RX_FIFO0,&RxHeader,Row_Data);
		Get_Vision_Data(RxHeader.Identifier,Row_Data);
		Car_State_Decode(RxHeader.Identifier, Row_Data);
	}
}
void SPI_FDCANCallback(int header,unsigned char * Row_Data){
	Get_VESC_Data(header, Row_Data);
}
void HAL_GPIO_EXTI_Callback(uint16_t GPIO_Pin){
  if(GPIO_Pin == GPIO_PIN_5)
		Get_SPIFDCAN_Data();
//  if (GPIO_Pin == GPIO_PIN_4)
//		Get_SPIFDCAN_Data();

}

/* USER CODE END 4 */

 /* MPU Configuration */

void MPU_Config(void)
{
  MPU_Region_InitTypeDef MPU_InitStruct = {0};

  /* Disables the MPU */
  HAL_MPU_Disable();

  /** Initializes and configures the Region and the memory to be protected
  */
  MPU_InitStruct.Enable = MPU_REGION_ENABLE;
  MPU_InitStruct.Number = MPU_REGION_NUMBER0;
  MPU_InitStruct.BaseAddress = 0x0;
  MPU_InitStruct.Size = MPU_REGION_SIZE_4GB;
  MPU_InitStruct.SubRegionDisable = 0x87;
  MPU_InitStruct.TypeExtField = MPU_TEX_LEVEL0;
  MPU_InitStruct.AccessPermission = MPU_REGION_NO_ACCESS;
  MPU_InitStruct.DisableExec = MPU_INSTRUCTION_ACCESS_DISABLE;
  MPU_InitStruct.IsShareable = MPU_ACCESS_SHAREABLE;
  MPU_InitStruct.IsCacheable = MPU_ACCESS_NOT_CACHEABLE;
  MPU_InitStruct.IsBufferable = MPU_ACCESS_NOT_BUFFERABLE;

  HAL_MPU_ConfigRegion(&MPU_InitStruct);
  /* Enables the MPU */
  HAL_MPU_Enable(MPU_PRIVILEGED_DEFAULT);

}

void HAL_TIM_PeriodElapsedCallback(TIM_HandleTypeDef *htim)
{
  if (htim->Instance == TIM2) {
    HAL_IncTick();
  }
  /* USER CODE BEGIN Callback 1 */
	if (htim->Instance == TIM16) {
		Transmit_task();
  }
	if (htim->Instance == TIM3)
		CPU_Tick += 1;

  /* USER CODE END Callback 1 */
}

void Error_Handler(void)
{
  __disable_irq();
  while (1)
  {
  }
}
